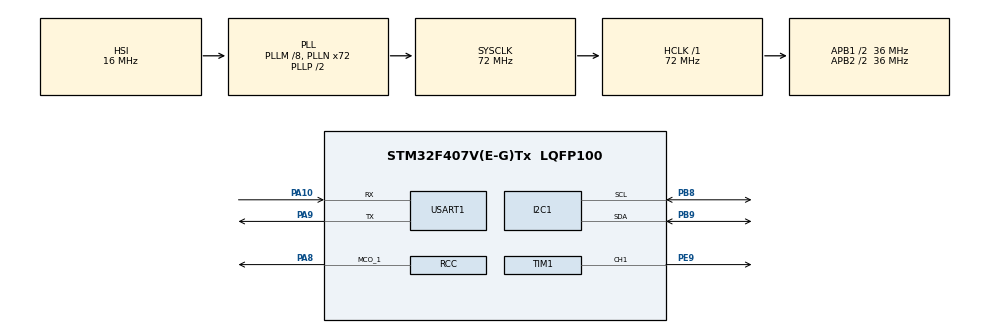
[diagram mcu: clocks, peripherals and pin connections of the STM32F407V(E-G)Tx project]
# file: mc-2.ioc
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I2C1.I2C_Mode=I2C_Fast
Mcu.Family=STM32F4
Mcu.Name=STM32F407V(E-G)Tx
Mcu.Package=LQFP100
NVIC.I2C1_ER_IRQn=true\:0\:0\:false\:false\:true\:true\:true\:true
NVIC.I2C1_EV_IRQn=true\:0\:0\:false\:false\:true\:true\:true\:true
NVIC.PriorityGroup=NVIC_PRIORITYGROUP_4
PA10.Mode=Asynchronous
PA10.Signal=USART1_RX
PA13.Mode=JTAG_5_pins
PA13.Signal=SYS_JTMS-SWDIO
PA14.Mode=JTAG_5_pins
PA14.Signal=SYS_JTCK-SWCLK
PA15.Mode=JTAG_5_pins
PA15.Signal=SYS_JTDI
PA8.Mode=Clock-out-1
PA8.Signal=RCC_MCO_1
PA9.Mode=Asynchronous
PA9.Signal=USART1_TX
PB3.Mode=JTAG_5_pins
PB3.Signal=SYS_JTDO-SWO
PB4.Mode=JTAG_5_pins
PB4.Signal=SYS_JTRST
PB8.GPIO_Pu=GPIO_PULLUP
PB8.Mode=I2C
PB8.Signal=I2C1_SCL
PB9.GPIO_Pu=GPIO_PULLUP
PB9.Mode=I2C
PB9.Signal=I2C1_SDA
PE9.Signal=S_TIM1_CH1
PH0-OSC_IN.Mode=HSE-External-Oscillator
PH0-OSC_IN.Signal=RCC_OSC_IN
PH1-OSC_OUT.Mode=HSE-External-Oscillator
PH1-OSC_OUT.Signal=RCC_OSC_OUT
ProjectManager.HeapSize=0x200
ProjectManager.StackSize=0x400
ProjectManager.TargetToolchain=STM32CubeIDE
RCC.48MHZClocksFreq_Value=36000000
RCC.AHBFreq_Value=72000000
RCC.APB1CLKDivider=RCC_HCLK_DIV2
RCC.APB1Freq_Value=36000000
RCC.APB1TimFreq_Value=72000000
RCC.APB2CLKDivider=RCC_HCLK_DIV2
RCC.APB2Freq_Value=36000000
RCC.APB2TimFreq_Value=72000000
RCC.CortexFreq_Value=72000000
RCC.HCLKFreq_Value=72000000
RCC.HSE_VALUE=25000000
RCC.HSI_VALUE=16000000
RCC.LSE_VALUE=32768
RCC.PLLM=8
RCC.PLLN=72
RCC.SYSCLKFreq_VALUE=72000000
RCC.SYSCLKSource=RCC_SYSCLKSOURCE_PLLCLK
RCC.VCOOutputFreq_Value=144000000
SH.S_TIM1_CH1.0=TIM1_CH1,PWM Generation1 CH1
TIM1.Channel-PWM\ Generation1\ CH1=TIM_CHANNEL_1
TIM1.OCFastMode_PWM-PWM\ Generation1\ CH1=TIM_OCFAST_DISABLE
TIM1.Period=999
TIM1.Prescaler=70
TIM1.Pulse-PWM\ Generation1\ CH1=500
USART1.VirtualMode=VM_ASYNC
VP_TIM1_VS_ClockSourceINT.Mode=Internal
board=custom

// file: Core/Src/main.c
/* USER CODE BEGIN Header */
/**
  ******************************************************************************
  * @file           : main.c
  * @brief          : Main program body
  ******************************************************************************
  * @attention
  *
  * Copyright (c) 2026 STMicroelectronics.
  * All rights reserved.
  *
  * This software is licensed under terms that can be found in the LICENSE file
  * in the root directory of this software component.
  * If no LICENSE file comes with this software, it is provided AS-IS.
  *
  ******************************************************************************
  */
/* USER CODE END Header */
#include "main.h"
#include "i2c.h"
#include "tim.h"
#include "usart.h"
#include "gpio.h"

/* USER CODE BEGIN Includes */
#include "kb.h"
#include "pca9538.h"
#include "oled.h"
#include "music.h"
#include <stdio.h>
#include <inttypes.h>
/* USER CODE END Includes */

void SystemClock_Config(void);

/* USER CODE BEGIN 0 */
char *i64toa(int64_t v, char *buf)
{
    char *p = buf;
    uint64_t x;

    if (v < 0) {
        *p++ = '-';
        x = -v;
    } else {
        x = v;
    }

    char *start = p;
    do {
        *p++ = (x % 10) + '0';
        x /= 10;
    } while (x);

    *p = '\0';

    for (char *l = start, *r = p - 1; l < r; l++, r--) {
        char t = *l; *l = *r; *r = t;
    }

    return buf;
}

int max(int a, int b)
{
	return (a > b) ? a : b;
}

int abs(int a) {
	return (a > 0) ? a : -a;
}

/* USER CODE END 0 */

int main(void)
{

  /* MCU Configuration--------------------------------------------------------*/

  /* Reset of all peripherals, Initializes the Flash interface and the Systick. */
  HAL_Init();

  /* Configure the system clock */
  SystemClock_Config();

  /* Initialize all configured peripherals */
  MX_GPIO_Init();
  MX_I2C1_Init();
  MX_USART1_UART_Init();
  MX_TIM1_Init();

  /* Infinite loop */
  /* USER CODE BEGIN WHILE */
  	init_music();
    oled_Init();

    oled_Fill(1);
    oled_SetCursor(10, 5);
    oled_WriteString("Calculator", Font_7x10, 0);
    oled_SetCursor(10, 25);
    oled_WriteString("SDK-1.1", Font_7x10, 0);
    oled_SetCursor(10, 45);
	oled_WriteString("By Armemius", Font_7x10, 0);
   	oled_UpdateScreen();
   	play_amogus();
   	oled_Fill(0);
   	oled_UpdateScreen();

    kb_init();
    uint8_t state = 0;
    uint8_t opcode = 1;
    char buf_a[20];
    char buf_b[20];
    char buf_c[32];
    char opcodes[4] = {'+', '-', '*', '/'};
    uint8_t a_size = 0;
    uint8_t b_size = 0;
    int32_t a = 0;
    int32_t b = 0;
    int32_t c = 0;
    char old = 0, ch = -1;
//  	play_amogus();
//  	handlers[0] = show_code;
    oled_SetCursor(5, 5);
	oled_Fill(0);
	oled_WriteString("Input operand A", Font_7x10, 1);
	oled_DrawHLine(0, OLED_WIDTH, 17, 1);
	oled_SetCursor(5, 5 + 20);
	oled_WriteChar('0', Font_7x10, 1);
	oled_UpdateScreen();
	while (1)
	{
    /* USER CODE END WHILE */

    /* USER CODE BEGIN 3 */
	old = ch;
	ch = kb_get_symb();
	if (ch == old || ch == 0) {
		continue;
	}

	play_note(800);
	HAL_Delay(150);

	if (state == 1 && ch == '*') {
		opcode = (opcode + 1) % 4;
	}
	if (state == 1 && '0' <= ch && ch <= '9') {
		state = 2;
	}
	if (state == 0 && a_size < 8) {
		if ('0' <= ch && ch <= '9') {
			uint32_t a_old = a;
			a = a * 10 + ch - '0';
			if (a != a_old) {
				a_size++;
			}
			snprintf(buf_a, sizeof(buf_a), "%ld", a);
		}
	}
	if (state == 0 && ch == '*') {
		state = 1;
	}
	if (state == 3 && ch == '#') {
		state = 0;
		a = 0;
		b = 0;
		c = 0;
		a_size = 0;
		b_size = 0;
		snprintf(buf_a, sizeof(buf_b), "%ld", 0);
		snprintf(buf_b, sizeof(buf_b), "%ld", 0);
		snprintf(buf_c, sizeof(buf_c), "%ld", 0);
	}
	if (state == 2 && ch == '#') {
		state = 3;
	}

	if (state == 2 && b_size < 8) {
		if ('0' <= ch && ch <= '9') {
			uint32_t b_old = b;
			b = b * 10 + ch - '0';
			if (b != b_old) {
				b_size++;
			}
			snprintf(buf_b, sizeof(buf_b), "%ld", b);
		}
	}

	oled_Fill(0);
	oled_SetCursor(5, 5);
	if (state == 1 || (state == 0 && a_size == 8)) {
		oled_WriteString("Select operation", Font_7x10, 1);
	} else if (state == 0) {
		oled_WriteString("Input operand A", Font_7x10, 1);
	} else if (state == 2) {
		oled_WriteString("Input operand B", Font_7x10, 1);
	} else if (state == 3) {
		oled_WriteString("Results", Font_7x10, 1);
	}
	oled_DrawHLine(0, OLED_WIDTH, 17, 1);
	oled_SetCursor(5 + (b_size > a_size ? 7 * abs(a_size - b_size) : 0), 5 + 20);
	oled_WriteString(buf_a, Font_7x10, 1);

	if (state > 0) {
		oled_SetCursor(7 + 7 * max(a_size, b_size), 5 + 20 + 6);
		oled_WriteChar(opcodes[opcode], Font_7x10, 1);
	}

	if (state > 1) {
		oled_SetCursor(5 + (b_size < a_size ? 7 * abs(a_size - max(1, b_size)) : 0), 15 + 20);
		oled_WriteString(buf_b, Font_7x10, 1);
	}
	if (state == 3) {
		int64_t c;
		if (b == 0 && opcode == 3) {
			snprintf(buf_c, sizeof(buf_c), "error");
		} else {
			switch(opcode) {
			case 0:
				c = (uint64_t)a + (uint64_t)b;
				break;
			case 1:
				c = (uint64_t)a - (uint64_t)b;
				break;
			case 2:
				c = (uint64_t)a * (uint64_t)b;
				break;
			case 3:
				c = (uint64_t)a / (uint64_t)b;
				break;
			}
			i64toa(c, buf_c);
		}
	}
	if (state > 2) {
		oled_DrawHLine(4, 6 + max(a_size, b_size) * 7, 25+20, 1);
		oled_SetCursor(5, 25 + 23);
		oled_WriteString(buf_c, Font_7x10, 1);
	}

	oled_UpdateScreen();
	stop_note();
	}
  /* USER CODE END 3 */
}

void SystemClock_Config(void)
{
  RCC_OscInitTypeDef RCC_OscInitStruct = {0};
  RCC_ClkInitTypeDef RCC_ClkInitStruct = {0};

  /** Configure the main internal regulator output voltage
  */
  __HAL_RCC_PWR_CLK_ENABLE();
  __HAL_PWR_VOLTAGESCALING_CONFIG(PWR_REGULATOR_VOLTAGE_SCALE1);

  /** Initializes the RCC Oscillators according to the specified parameters
  * in the RCC_OscInitTypeDef structure.
  */
  RCC_OscInitStruct.OscillatorType = RCC_OSCILLATORTYPE_HSI;
  RCC_OscInitStruct.HSIState = RCC_HSI_ON;
  RCC_OscInitStruct.HSICalibrationValue = RCC_HSICALIBRATION_DEFAULT;
  RCC_OscInitStruct.PLL.PLLState = RCC_PLL_ON;
  RCC_OscInitStruct.PLL.PLLSource = RCC_PLLSOURCE_HSI;
  RCC_OscInitStruct.PLL.PLLM = 8;
  RCC_OscInitStruct.PLL.PLLN = 72;
  RCC_OscInitStruct.PLL.PLLP = RCC_PLLP_DIV2;
  RCC_OscInitStruct.PLL.PLLQ = 4;
  if (HAL_RCC_OscConfig(&RCC_OscInitStruct) != HAL_OK)
  {
    Error_Handler();
  }

  /** Initializes the CPU, AHB and APB buses clocks
  */
  RCC_ClkInitStruct.ClockType = RCC_CLOCKTYPE_HCLK|RCC_CLOCKTYPE_SYSCLK
                              |RCC_CLOCKTYPE_PCLK1|RCC_CLOCKTYPE_PCLK2;
  RCC_ClkInitStruct.SYSCLKSource = RCC_SYSCLKSOURCE_PLLCLK;
  RCC_ClkInitStruct.AHBCLKDivider = RCC_SYSCLK_DIV1;
  RCC_ClkInitStruct.APB1CLKDivider = RCC_HCLK_DIV2;
  RCC_ClkInitStruct.APB2CLKDivider = RCC_HCLK_DIV2;

  if (HAL_RCC_ClockConfig(&RCC_ClkInitStruct, FLASH_LATENCY_2) != HAL_OK)
  {
    Error_Handler();
  }
  HAL_RCC_MCOConfig(RCC_MCO1, RCC_MCO1SOURCE_HSI, RCC_MCODIV_1);
}

void Error_Handler(void)
{
  __disable_irq();
  while (1)
  {
  }
}
